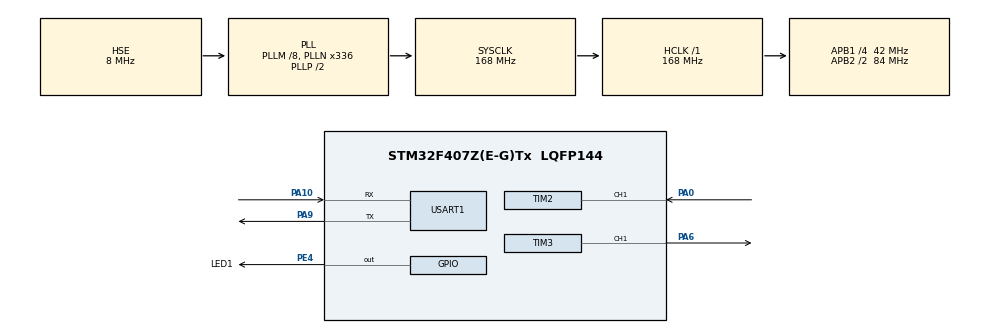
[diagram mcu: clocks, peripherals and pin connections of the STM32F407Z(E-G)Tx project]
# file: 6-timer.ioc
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Mcu.Family=STM32F4
Mcu.Name=STM32F407Z(E-G)Tx
Mcu.Package=LQFP144
NVIC.PriorityGroup=NVIC_PRIORITYGROUP_4
NVIC.TIM2_IRQn=true\:0\:0\:false\:false\:true\:true\:true\:true
PA0-WKUP.Signal=S_TIM2_CH1_ETR
PA10.Mode=Asynchronous
PA10.Signal=USART1_RX
PA13.Mode=Serial_Wire
PA13.Signal=SYS_JTMS-SWDIO
PA14.Mode=Serial_Wire
PA14.Signal=SYS_JTCK-SWCLK
PA6.Signal=S_TIM3_CH1
PA9.Mode=Asynchronous
PA9.Signal=USART1_TX
PE4.GPIO_Label=LED1
PE4.GPIO_PuPd=GPIO_PULLUP
PE4.Signal=GPIO_Output
PH0-OSC_IN.Mode=HSE-External-Oscillator
PH0-OSC_IN.Signal=RCC_OSC_IN
PH1-OSC_OUT.Mode=HSE-External-Oscillator
PH1-OSC_OUT.Signal=RCC_OSC_OUT
ProjectManager.HeapSize=0x200
ProjectManager.StackSize=0x400
ProjectManager.TargetToolchain=STM32CubeIDE
RCC.48MHZClocksFreq_Value=84000000
RCC.AHBFreq_Value=168000000
RCC.APB1CLKDivider=RCC_HCLK_DIV4
RCC.APB1Freq_Value=42000000
RCC.APB1TimFreq_Value=84000000
RCC.APB2CLKDivider=RCC_HCLK_DIV2
RCC.APB2Freq_Value=84000000
RCC.APB2TimFreq_Value=168000000
RCC.CortexFreq_Value=168000000
RCC.HCLKFreq_Value=168000000
RCC.HSE_VALUE=8000000
RCC.HSI_VALUE=16000000
RCC.LSE_VALUE=32768
RCC.PLLM=8
RCC.PLLN=336
RCC.PLLSourceVirtual=RCC_PLLSOURCE_HSE
RCC.SYSCLKFreq_VALUE=168000000
RCC.SYSCLKSource=RCC_SYSCLKSOURCE_PLLCLK
RCC.VCOOutputFreq_Value=336000000
SH.S_TIM2_CH1_ETR.0=TIM2_CH1,Input_Capture1_from_TI1
SH.S_TIM3_CH1.0=TIM3_CH1,PWM Generation1 CH1
TIM2.Channel-Input_Capture1_from_TI1=TIM_CHANNEL_1
TIM2.Period=83999999
TIM3.Channel-PWM\ Generation1\ CH1=TIM_CHANNEL_1
TIM3.OCPolarity_1=TIM_OCPOLARITY_HIGH
TIM3.Period=999
TIM3.Prescaler=83
USART1.VirtualMode=VM_ASYNC
VP_TIM2_VS_ClockSourceINT.Mode=Internal
VP_TIM3_VS_ClockSourceINT.Mode=Internal
board=custom

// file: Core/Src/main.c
/* USER CODE BEGIN Header */
/**
  ******************************************************************************
  * @file           : main.c
  * @brief          : Main program body
  ******************************************************************************
  * @attention
  *
  * Copyright (c) 2023 STMicroelectronics.
  * All rights reserved.
  *
  * This software is licensed under terms that can be found in the LICENSE file
  * in the root directory of this software component.
  * If no LICENSE file comes with this software, it is provided AS-IS.
  *
  ******************************************************************************
  */
/* USER CODE END Header */
#include "main.h"
#include "tim.h"
#include "usart.h"
#include "gpio.h"

/* USER CODE BEGIN PD */

#include "stdio.h"

#ifdef __GNUC__
#define PUTCHAR_PROTOTYPE int __io_putchar(int ch)
#else
#define PUTCHAR_PROTOTYPE int fputc(int ch, FILE *f)
#endif

PUTCHAR_PROTOTYPE {
    HAL_UART_Transmit(&huart1, (uint8_t *) &ch, 1, 0xFFFF);
    return ch;
}

/* USER CODE END PD */

/* USER CODE BEGIN PV */

uint32_t pulse_value = 0;
/* USER CODE END PV */

void SystemClock_Config(void);

int main(void) {

    /* MCU Configuration--------------------------------------------------------*/

    /* Reset of all peripherals, Initializes the Flash interface and the Systick. */
    HAL_Init();

    /* Configure the system clock */
    SystemClock_Config();

    /* Initialize all configured peripherals */
    MX_GPIO_Init();
    MX_TIM2_Init();
    MX_USART1_UART_Init();
    MX_TIM3_Init();
    /* USER CODE BEGIN 2 */
    //基础定时器,用来产生1s的中断
    //HAL_TIM_Base_Start_IT(&htim9);

    //tim3定时产生一个1khz脉冲,占空比是50%,用来做输入,IO口 PA6
    HAL_TIM_PWM_Start(&htim3, TIM_CHANNEL_1);
    __HAL_TIM_SET_COMPARE(&htim3, TIM_CHANNEL_1, 500);

    HAL_TIM_Base_Start_IT(&htim2);
    //输入捕获,用来统计脉冲 IO口:PA0
    //HAL_TIM_IC_Start(&htim2, TIM_CHANNEL_1);
    HAL_TIM_IC_Start_IT(&htim2, TIM_CHANNEL_1);

    /* USER CODE END 2 */

    /* Infinite loop */
    while (1) {

    }
}

void SystemClock_Config(void) {
    RCC_OscInitTypeDef RCC_OscInitStruct = {0};
    RCC_ClkInitTypeDef RCC_ClkInitStruct = {0};

    /** Configure the main internal regulator output voltage
    */
    __HAL_RCC_PWR_CLK_ENABLE();
    __HAL_PWR_VOLTAGESCALING_CONFIG(PWR_REGULATOR_VOLTAGE_SCALE1);

    /** Initializes the RCC Oscillators according to the specified parameters
    * in the RCC_OscInitTypeDef structure.
    */
    RCC_OscInitStruct.OscillatorType = RCC_OSCILLATORTYPE_HSE;
    RCC_OscInitStruct.HSEState = RCC_HSE_ON;
    RCC_OscInitStruct.PLL.PLLState = RCC_PLL_ON;
    RCC_OscInitStruct.PLL.PLLSource = RCC_PLLSOURCE_HSE;
    RCC_OscInitStruct.PLL.PLLM = 8;
    RCC_OscInitStruct.PLL.PLLN = 336;
    RCC_OscInitStruct.PLL.PLLP = RCC_PLLP_DIV2;
    RCC_OscInitStruct.PLL.PLLQ = 4;
    if (HAL_RCC_OscConfig(&RCC_OscInitStruct) != HAL_OK) {
        Error_Handler();
    }

    /** Initializes the CPU, AHB and APB buses clocks
    */
    RCC_ClkInitStruct.ClockType = RCC_CLOCKTYPE_HCLK | RCC_CLOCKTYPE_SYSCLK
                                  | RCC_CLOCKTYPE_PCLK1 | RCC_CLOCKTYPE_PCLK2;
    RCC_ClkInitStruct.SYSCLKSource = RCC_SYSCLKSOURCE_PLLCLK;
    RCC_ClkInitStruct.AHBCLKDivider = RCC_SYSCLK_DIV1;
    RCC_ClkInitStruct.APB1CLKDivider = RCC_HCLK_DIV4;
    RCC_ClkInitStruct.APB2CLKDivider = RCC_HCLK_DIV2;

    if (HAL_RCC_ClockConfig(&RCC_ClkInitStruct, FLASH_LATENCY_5) != HAL_OK) {
        Error_Handler();
    }
}

/* USER CODE BEGIN 4 */
void HAL_TIM_PeriodElapsedCallback(TIM_HandleTypeDef *htim) {
    if (htim == &htim2) {
        HAL_GPIO_TogglePin(LED1_GPIO_Port, LED1_Pin);
        //获取当前RCC值,需要跟实际的脉冲输入值做一下映射
        //uint32_t value = HAL_TIM_ReadCapturedValue(&htim2, TIM_CHANNEL_1);
        printf("value:%lu\n", pulse_value);
    }

}

void HAL_TIM_IC_CaptureCallback(TIM_HandleTypeDef *htim) {
    if (htim == &htim2) {
        pulse_value++;
    }

}

/* USER CODE END 4 */

void Error_Handler(void) {
    __disable_irq();
    while (1) {
    }
}
